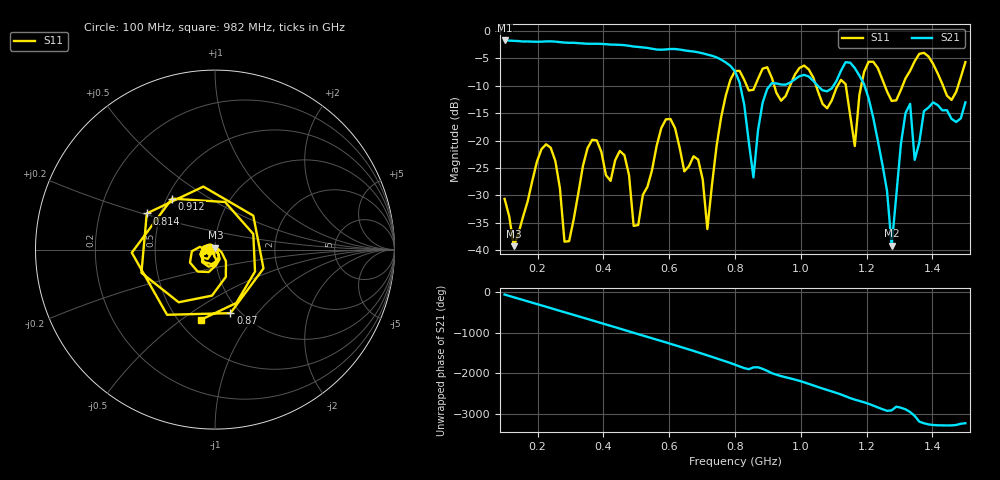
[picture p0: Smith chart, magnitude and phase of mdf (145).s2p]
! NanoVNA-App
! Date: 2025-09-26 09:40:52
! Start: 100MHz Stop: 1,5GHz Points: 101
! S-Parameter data: F S11 S21 S12 S22
# Hz S RI R 50
!  Frequency  S11_Real  S11_Imag  S21_Real  S21_Imag  S12_Real  S12_Imag  S22_Real  S22_Imag
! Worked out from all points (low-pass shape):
!   101 points, 100 MHz to 1.5 GHz, reference 50 ohm
!   highest |S21| = -1.79 dB at 100 MHz (marker M1); lowest = -39.1 dB at 1.276 GHz (marker M2)
!   |S21| within 3 dB of the highest: start of sweep to 740.6 MHz
!   lowest |S11| = -39.2 dB at 128 MHz (marker M3), VSWR 1.02, Z = 50.3 + j1.06 ohm
!   |S11| at or under -10 dB: start of sweep to 780.9 MHz; 1.046 GHz to 1.112 GHz (66.2 MHz wide, 6.13 % of centre); 1.255 GHz to 1.309 GHz (54.34 MHz wide, 4.24 % of centre)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
!   S12 and S22 are empty: the file has one direction only
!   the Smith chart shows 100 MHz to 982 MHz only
!   S11 on the Smith chart (normalised r, x): 100 MHz: 0.94, -0.01; 814 MHz: 0.42, +0.21; 870 MHz: 0.90, -0.74; 912 MHz: 0.53, +0.35; 982 MHz: 0.64, -0.59
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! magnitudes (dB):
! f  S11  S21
! 100 MHz  -30.6  -1.8
! 128 MHz  -39.2  -1.9
! 212 MHz  -21.6  -2.0
! 282 MHz  -38.4  -2.2
! 338 MHz  -24.6  -2.3
! 464 MHz  -22.7  -2.6
! 506 MHz  -35.4  -3.0
! 576 MHz  -17.7  -3.5
! 716 MHz  -36.1  -4.4
! 800 MHz  -7.3  -7.4
! 814 MHz  -7.3  -9.5
! 856 MHz  -10.8  -26.7
! 870 MHz  -8.8  -18.1
! 912 MHz  -8.6  -9.6
! 982 MHz  -8.0  -8.9
! 1.038 GHz  -8.6  -9.2
! 1.164 GHz  -21.0  -6.8
! 1.192 GHz  -7.5  -9.7
! 1.276 GHz  -12.8  -39.1
! 1.332 GHz  -7.3  -13.3
! 1.346 GHz  -5.6  -23.5
! 1.5 GHz  -5.7  -13.1
